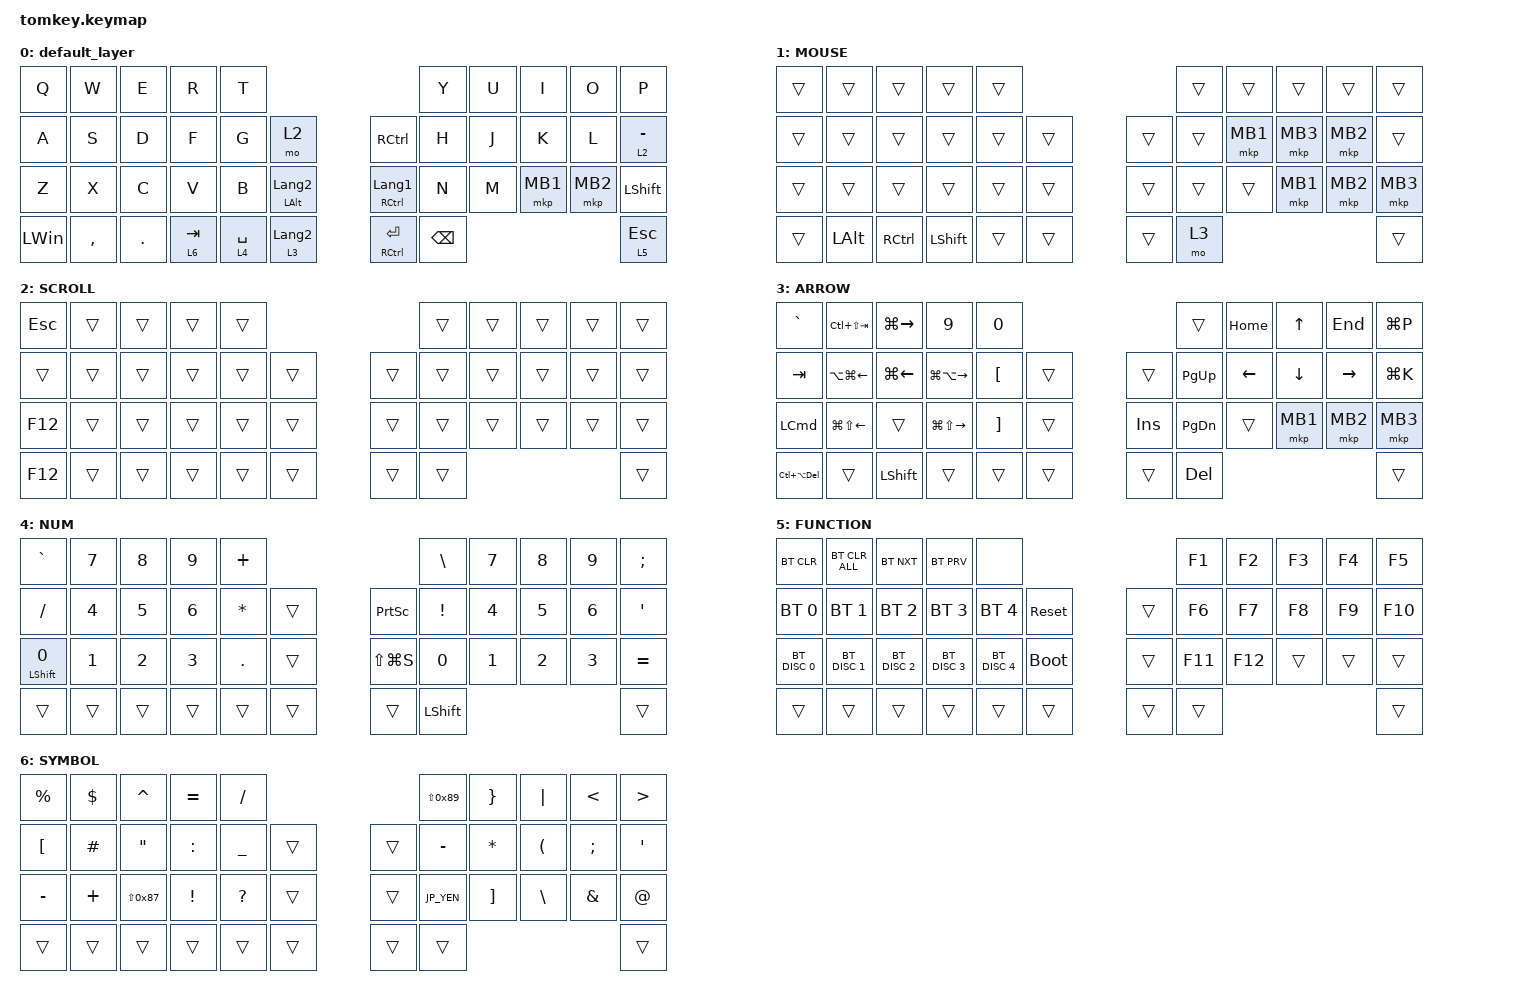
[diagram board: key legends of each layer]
#include <behaviors.dtsi>
#include <dt-bindings/zmk/bt.h>
#include <dt-bindings/zmk/keys.h>
#include <dt-bindings/zmk/pointing.h>

#define ZMK_POINTING_DEFAULT_MOVE_VAL 300  // デフォルト: 600
#define U_MOUSE_MOVE_MAX 300  // 新しい最大速度設定（デフォルトは600）

#undef MOVE_UP
#undef MOVE_DOWN
#undef MOVE_LEFT
#undef MOVE_RIGHT

#define MOVE_UP MOVE_VERT(-U_MOUSE_MOVE_MAX)
#define MOVE_DOWN MOVE_VERT(U_MOUSE_MOVE_MAX)
#define MOVE_LEFT MOVE_HOR(-U_MOUSE_MOVE_MAX)
#define MOVE_RIGHT MOVE_HOR(U_MOUSE_MOVE_MAX)

// OS設定を日本語キーボードのまま使用するための変換定義

#define JP_DQUOTE       AT                // "
#define JP_AMPERSAND    CARET             // &
#define JP_QUOTE        AMPERSAND         // '
#define JP_EQUAL        UNDER             // =
#define JP_CARET        EQUAL             // ^
#define JP_YEN          0x89              // ¥
#define JP_PLUS         COLON             // +
#define JP_TILDE        PLUS              // ~
#define JP_PIPE         LS(0x89)          // |
#define JP_AT           LEFT_BRACKET      // @
#define JP_COLON        SINGLE_QUOTE      // :
#define JP_ASTERISK     DOUBLE_QUOTES     // *
#define JP_BACKQUOTE    LEFT_BRACE        // `
#define JP_UNDERSCORE   LS(0x87)          // _
#define JP_LBRACKET     RIGHT_BRACKET     // [
#define JP_RBRACKET     BACKSLASH         // ]
#define JP_LPAREN       ASTERISK          // (
#define JP_RPAREN       LEFT_PARENTHESIS  // )
#define JP_LBRACE       RIGHT_BRACE       // {
#define JP_RBRACE       PIPE              // }
#define JP_KANA         LANGUAGE_1        // かな
#define JP_EISU         LANGUAGE_2        // 英数
#define JP_HANZEN       GRAVE             // 半角/全角

/ {
    keymap {
        compatible = "zmk,keymap";

        default_layer {
            bindings = <
&kp Q         &kp W      &kp E       &kp R      &kp T                                                       &kp Y          &kp U  &kp I     &kp O     &kp P
&kp A         &kp S      &kp D       &kp F      &kp G        &mo 2                    &kp RCTRL             &kp H          &kp J  &kp K     &kp L     &lt 2 MINUS
&kp Z         &kp X      &kp C       &kp V      &kp B        &mt LALT LANGUAGE_2      &mt RCTRL LANGUAGE_1  &kp N          &kp M  &mkp MB1  &mkp MB2  &kp LEFT_SHIFT
&kp LEFT_WIN  &kp COMMA  &kp PERIOD  &lt 6 TAB  &lt 4 SPACE  &lt 3 LANGUAGE_2         &mt RCTRL RETURN      &kp BACKSPACE                             &lt 5 ESCAPE
            >;
        };

        MOUSE {
            bindings = <
&trans  &trans        &trans     &trans          &trans                      &trans  &trans    &trans    &trans    &trans
&trans  &trans        &trans     &trans          &trans  &trans      &trans  &trans  &mkp MB1  &mkp MB3  &mkp MB2  &trans
&trans  &trans        &trans     &trans          &trans  &trans      &trans  &trans  &trans    &mkp MB1  &mkp MB2  &mkp MB3
&trans  &kp LEFT_ALT  &kp RCTRL  &kp LEFT_SHIFT  &trans  &trans      &trans  &mo 3                                 &trans
            >;
        };

        SCROLL {
            bindings = <
&kp ESCAPE  &trans  &trans  &trans  &trans                      &trans  &trans  &trans  &trans  &trans
&trans      &trans  &trans  &trans  &trans  &trans      &trans  &trans  &trans  &trans  &trans  &trans
&kp F12     &trans  &trans  &trans  &trans  &trans      &trans  &trans  &trans  &trans  &trans  &trans
&kp F12     &trans  &trans  &trans  &trans  &trans      &trans  &trans                          &trans
            >;
        };

        ARROW {
            bindings = <
&kp GRAVE        &kp LC(LS(TAB))         &kp LG(RIGHT)   &kp NUMBER_9             &kp NUMBER_0                               &trans         &kp HOME        &kp UP_ARROW    &kp END          &kp LG(P)
&kp TAB          &kp LA(LG(LEFT_ARROW))  &kp LG(LEFT)    &kp LG(LA(RIGHT_ARROW))  &kp LEFT_BRACKET   &trans      &trans      &kp PAGE_UP    &kp LEFT_ARROW  &kp DOWN_ARROW  &kp RIGHT_ARROW  &kp LG(K)
&kp LCMD         &kp LG(LS(LEFT_ARROW))  &trans          &kp LG(LS(RIGHT_ARROW))  &kp RIGHT_BRACKET  &trans      &kp INSERT  &kp PAGE_DOWN  &trans          &mkp MB1        &mkp MB2         &mkp MB3
&kp LC(LA(DEL))  &trans                  &kp LEFT_SHIFT  &trans                   &trans             &trans      &trans      &kp DEL                                                         &trans
            >;
        };

        NUM {
            bindings = <
&kp GRAVE                &kp NUMBER_7  &kp NUMBER_8  &kp NUMBER_9  &kp PLUS                                   &kp BACKSLASH    &kp NUMBER_7  &kp NUMBER_8  &kp NUMBER_9  &kp SEMICOLON
&kp SLASH                &kp NUMBER_4  &kp NUMBER_5  &kp NUMBER_6  &kp ASTERISK  &trans      &kp PRINTSCREEN  &kp EXCLAMATION  &kp NUMBER_4  &kp NUMBER_5  &kp NUMBER_6  &kp SQT
&mt LEFT_SHIFT NUMBER_0  &kp NUMBER_1  &kp NUMBER_2  &kp NUMBER_3  &kp PERIOD    &trans      &kp LS(LG(S))    &kp NUMBER_0     &kp NUMBER_1  &kp NUMBER_2  &kp NUMBER_3  &kp EQUAL
&trans                   &trans        &trans        &trans        &trans        &trans      &trans           &kp LEFT_SHIFT                                             &trans
            >;
        };

        FUNCTION {
            bindings = <
&bt BT_CLR     &bt BT_CLR_ALL  &bt BT_NXT     &bt BT_PRV     &none                                   &kp F1   &kp F2   &kp F3  &kp F4  &kp F5
&bt BT_SEL 0   &bt BT_SEL 1    &bt BT_SEL 2   &bt BT_SEL 3   &bt BT_SEL 4   &sys_reset       &trans  &kp F6   &kp F7   &kp F8  &kp F9  &kp F10
&bt BT_DISC 0  &bt BT_DISC 1   &bt BT_DISC 2  &bt BT_DISC 3  &bt BT_DISC 4  &bootloader      &trans  &kp F11  &kp F12  &trans  &trans  &trans
&trans         &trans          &trans         &trans         &trans         &trans           &trans  &trans                            &trans
            >;
        };

        SYMBOL {
            bindings = <
&kp PERCENT  &kp DOLLAR    &kp JP_AMPERSAND   &kp JP_CARET     &kp SLASH                         &kp JP_PIPE  &kp JP_LBRACE    &kp JP_RBRACE    &kp LESS_THAN  &kp GREATER_THAN
&kp JP_AT    &kp HASH      &kp JP_ASTERISK    &kp JP_PLUS      &kp JP_EQUAL  &trans      &trans  &kp MINUS    &kp JP_LPAREN    &kp JP_RPAREN    &kp SEMICOLON  &kp JP_COLON
&kp MINUS    &kp JP_TILDE  &kp JP_UNDERSCORE  &kp EXCLAMATION  &kp QUESTION  &trans      &trans  &kp JP_YEN   &kp JP_LBRACKET  &kp JP_RBRACKET  &kp JP_QUOTE   &kp JP_DQUOTE
&trans       &trans        &trans             &trans           &trans        &trans      &trans  &trans                                                        &trans
            >;
        };
    };
};
